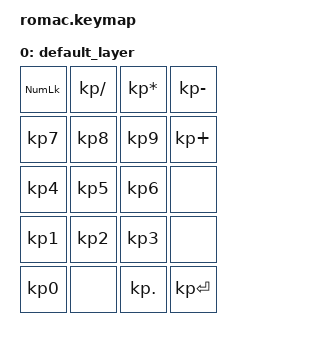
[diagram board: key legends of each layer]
/*
 * Copyright (c) 2020 The ZMK Contributors
 *
 * SPDX-License-Identifier: MIT
 */

#include <behaviors.dtsi>
#include <dt-bindings/zmk/keys.h>
#include <dt-bindings/zmk/bt.h>

/ {
    keymap {
        compatible = "zmk,keymap";

        default_layer {
// -------------------
// | 7      |  8  |  9  |
// | 4      |  5  |  6  |
// | 1      |  2  |  3  |
// | MO(1)  |  0  |  .  |
// ----------------------
            bindings = <
                &kp KP_NUMLOCK   &kp KP_SLASH      &kp KP_ASTERISK  &kp KP_MINUS
                &kp KP_NUMBER_7  &kp KP_NUMBER_8   &kp KP_NUMBER_9  &kp KP_PLUS
                &kp KP_NUMBER_4  &kp KP_NUMBER_5   &kp KP_NUMBER_6  &none
                &kp KP_NUMBER_1  &kp KP_NUMBER_2   &kp KP_NUMBER_3  &none
                &kp KP_NUMBER_0  &none             &kp KP_DOT       &kp KP_ENTER
            >;
        };
    //         bindings = <
    // &kp N7 &kp N8 &kp N9
    // &kp N4 &kp N5 &kp N6
    // &kp N1 &kp N2 &kp N3
    // &mo 1  &kp N0 &kp DOT
    //         >;
    //     };

//         nav_layer {
// // -----------------------
// // | BTNXT |  HOME  |  PGUP  |
// // | BTPRV |  END   |  PGDN  |
// // | BTCLR |  _     |  _     |
// // | _     |  _     |  RET   |
// // -----------------------
//             bindings = <
//     &bt BT_NXT &kp HOME &kp PG_UP
//     &bt BT_PRV &kp END  &kp PG_DN
//     &bt BT_CLR &trans   &trans
//     &trans     &trans   &kp RET
//             >;
//         };
    };
};

